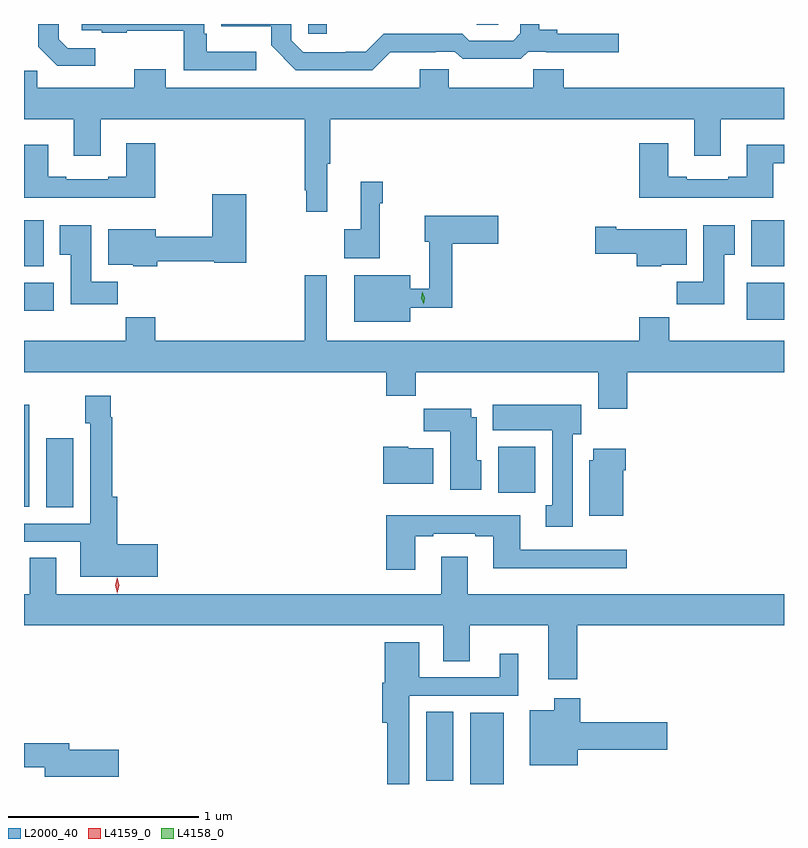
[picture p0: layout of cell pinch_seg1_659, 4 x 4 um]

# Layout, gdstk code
import gdstk
lib = gdstk.Library(unit=1e-6, precision=1e-09)
def R(c, l, rs):  # rectangles x0, y0, x1, y1
    for r in rs: c.add(gdstk.rectangle(r[:2], r[2:], *l))
def P(c, l, *ps):  # polygons
    for p in ps: c.add(gdstk.Polygon(p, *l))
L2000_40 = (2000, 40)
L4158_0 = (4158, 0)
L4159_0 = (4159, 0)

pinch_seg1_659 = lib.new_cell('pinch_seg1_659')
R(pinch_seg1_659, L2000_40, [(865.328,561.552,865.504,561.928), (865.097,561.57,865.24,561.932), (863.096,563.008,863.239,563.371), (862.98,563.012,863.008,563.548), (865.475,563.084,865.672,563.326), (866.783,563.996,866.98,564.19), (862.98,564.044,863.137,564.19), (862.98,564.278,863.083,564.52), (866.807,564.278,866.98,564.52), (864.477,565.5,864.573,565.552), (865.364,565.549,865.476,565.552)])
P(pinch_seg1_659, L2000_40, [(864.202,565.405),(863.941,565.405),(863.941,565.501),(863.928,565.501),(863.928,565.552),(863.285,565.552),(863.285,565.518),(863.389,565.518),(863.389,565.506),(863.521,565.506),(863.521,565.517),(863.82,565.517),(863.82,565.308),(864.202,565.308)],
  [(863.356,565.425),(863.211,565.425),(863.164,565.472),(863.164,565.552),(863.055,565.552),(863.055,565.431),(863.155,565.331),(863.356,565.331)],
  [(864.908,565.403),(865.148,565.403),(865.148,565.407),(865.248,565.407),(865.288,565.368),(865.595,565.368),(865.635,565.407),(865.729,565.407),(865.729,565.403),(866.11,565.403),(866.11,565.5),(865.786,565.5),(865.786,565.523),(865.691,565.523),(865.691,565.552),(865.593,565.552),(865.593,565.503),(865.554,565.464),(865.323,565.464),(865.287,565.5),(864.873,565.5),(864.779,565.406),(864.674,565.406),(864.674,565.404),(864.45,565.404),(864.387,565.467),(864.387,565.552),(864.018,565.552),(864.018,565.541),(864.28,565.541),(864.28,565.439),(864.41,565.308),(864.813,565.308)],
  [(864.575,564.816),(864.593,564.816),(864.593,565.052),(866.507,565.052),(866.507,564.858),(866.647,564.858),(866.647,565.052),(866.98,565.052),(866.98,565.216),(865.82,565.216),(865.82,565.314),(865.66,565.314),(865.66,565.216),(865.215,565.216),(865.215,565.314),(865.064,565.314),(865.064,565.216),(863.725,565.216),(863.725,565.315),(863.561,565.315),(863.561,565.216),(863.051,565.216),(863.051,565.307),(862.98,565.307),(862.98,565.052),(863.243,565.052),(863.243,564.858),(863.383,564.858),(863.383,565.052),(864.457,565.052),(864.457,564.676),(864.465,564.676),(864.465,564.564),(864.575,564.564)],
  [(866.923,564.819),(866.98,564.819),(866.98,564.916),(866.783,564.916),(866.783,564.748),(866.687,564.748),(866.687,564.735),(866.467,564.735),(866.467,564.748),(866.371,564.748),(866.371,564.925),(866.219,564.925),(866.219,564.638),(866.923,564.638)],
  [(863.672,564.925),(863.519,564.925),(863.519,564.748),(863.423,564.748),(863.423,564.735),(863.203,564.735),(863.203,564.748),(863.107,564.748),(863.107,564.916),(862.98,564.916),(862.98,564.638),(863.672,564.638)],
  [(864.852,564.608),(864.869,564.608),(864.869,564.721),(864.752,564.721),(864.752,564.473),(864.666,564.473),(864.666,564.32),(864.852,564.32)],
  [(863.682,564.303),(863.982,564.303),(863.982,564.295),(864.149,564.295),(864.149,564.655),(863.971,564.655),(863.971,564.431),(863.674,564.431),(863.674,564.472),(863.423,564.472),(863.423,564.284),(863.556,564.284),(863.556,564.278),(863.682,564.278)],
  [(865.012,564.059),(865.235,564.059),(865.235,564.395),(865.477,564.395),(865.477,564.542),(865.088,564.542),(865.088,564.407),(865.114,564.407),(865.114,564.159),(865.012,564.159),(865.012,564.229),(864.719,564.229),(864.719,563.984),(865.012,563.984)],
  [(866.665,564.337),(866.722,564.337),(866.722,564.493),(866.555,564.493),(866.555,564.196),(866.416,564.196),(866.416,564.078),(866.665,564.078)],
  [(863.474,564.196),(863.335,564.196),(863.335,564.493),(863.168,564.493),(863.168,564.337),(863.225,564.337),(863.225,564.078),(863.474,564.078)],
  [(866.334,564.284),(866.467,564.284),(866.467,564.472),(866.098,564.472),(866.098,564.485),(865.986,564.485),(865.986,564.343),(866.204,564.343),(866.204,564.278),(866.334,564.278)],
  [(866.156,563.72),(866.98,563.72),(866.98,563.884),(866.375,563.884),(866.375,564.008),(866.219,564.008),(866.219,563.884),(864.574,563.884),(864.574,564.229),(864.457,564.229),(864.457,563.884),(863.672,563.884),(863.672,564.008),(863.515,564.008),(863.515,563.884),(862.98,563.884),(862.98,563.72),(864.887,563.72),(864.887,563.596),(865.043,563.596),(865.043,563.72),(866.003,563.72),(866.003,563.526),(866.156,563.526)],
  [(863.683,562.814),(863.471,562.814),(863.471,563.065),(863.444,563.065),(863.444,563.483),(863.437,563.483),(863.437,563.596),(863.302,563.596),(863.302,563.451),(863.328,563.451),(863.328,562.923),(862.98,562.923),(862.98,562.827),(863.276,562.827),(863.276,562.643),(863.683,562.643)],
  [(865.867,563.394),(865.912,563.394),(865.912,563.548),(865.448,563.548),(865.448,563.414),(865.76,563.414),(865.76,563.018),(865.727,563.018),(865.727,562.905),(865.867,562.905)],
  [(865.387,563.256),(865.363,563.256),(865.363,563.482),(865.333,563.482),(865.333,563.527),(865.084,563.527),(865.084,563.408),(865.223,563.408),(865.223,563.102),(865.387,563.102)],
  [(865.135,563.32),(865.002,563.32),(865.002,563.326),(864.872,563.326),(864.872,563.132),(865.135,563.132)],
  [(866.134,563.204),(866.147,563.204),(866.147,563.317),(865.976,563.317),(865.976,563.256),(865.955,563.256),(865.955,562.964),(866.134,562.964)],
  [(865.039,562.857),(865.135,562.857),(865.135,562.869),(865.355,562.869),(865.355,562.857),(865.451,562.857),(865.451,562.688),(866.152,562.688),(866.152,562.785),(865.591,562.785),(865.591,562.966),(864.887,562.966),(864.887,562.68),(865.039,562.68)],
  [(865.892,562.388),(866.98,562.388),(866.98,562.552),(865.315,562.552),(865.315,562.747),(865.175,562.747),(865.175,562.552),(863.149,562.552),(863.149,562.742),(863.009,562.742),(863.009,562.552),(862.98,562.552),(862.98,562.388),(865.187,562.388),(865.187,562.198),(865.327,562.198),(865.327,562.388),(865.739,562.388),(865.739,562.104),(865.892,562.104)],
  [(865.008,562.017),(865.582,562.017),(865.582,562.237),(865.484,562.237),(865.484,562.113),(865.06,562.113),(865.06,562.297),(864.878,562.297),(864.878,562.086),(864.866,562.086),(864.866,561.875),(864.892,561.875),(864.892,561.552),(865.008,561.552)],
  [(865.894,561.731),(866.365,561.731),(866.365,561.878),(865.907,561.878),(865.907,562.003),(865.772,562.003),(865.772,561.94),(865.643,561.94),(865.643,561.65),(865.894,561.65)],
  [(863.479,561.731),(863.218,561.731),(863.218,561.767),(862.98,561.767),(862.98,561.639),(863.09,561.639),(863.09,561.589),(863.479,561.589)])
P(pinch_seg1_659, L4158_0, [(865.084,564.077),(865.084,564.078),(865.07,564.109),(865.076,564.143),(865.076,564.143),(865.077,564.143),(865.09,564.111),(865.085,564.078)])
P(pinch_seg1_659, L4159_0, [(863.471,562.556),(863.471,562.557),(863.461,562.597),(863.471,562.637),(863.471,562.637),(863.471,562.637),(863.481,562.597),(863.471,562.557)])

lib.write_gds('pinch_seg1_659.gds')
